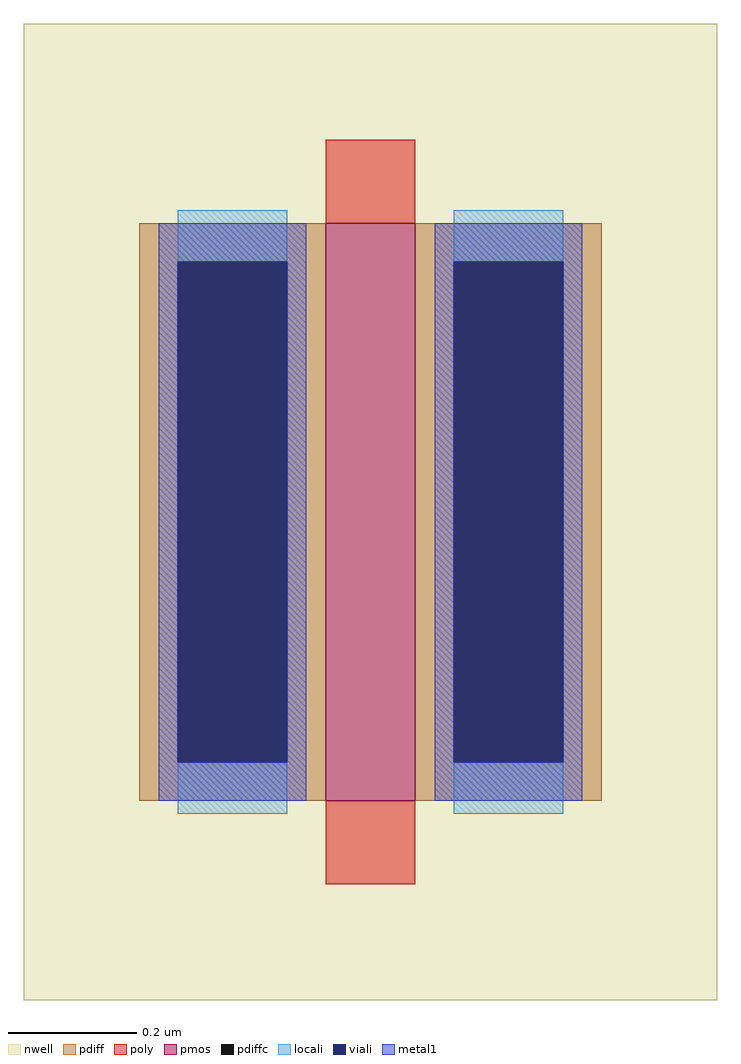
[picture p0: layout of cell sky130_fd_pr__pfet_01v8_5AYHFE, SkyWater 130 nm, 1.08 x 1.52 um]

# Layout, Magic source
magic
tech sky130A
<< nwell >>
rect -54 -76 54 76
<< pmos >>
rect -7 -45 7 45
<< pdiff >>
rect -36 39 -7 45
rect -36 -39 -30 39
rect -13 -39 -7 39
rect -36 -45 -7 -39
rect 7 39 36 45
rect 7 -39 13 39
rect 30 -39 36 39
rect 7 -45 36 -39
<< pdiffc >>
rect -30 -39 -13 39
rect 13 -39 30 39
<< poly >>
rect -7 45 7 58
rect -7 -58 7 -45
<< locali >>
rect -30 39 -13 47
rect -30 -47 -13 -39
rect 13 39 30 47
rect 13 -47 30 -39
<< viali >>
rect -30 -39 -13 39
rect 13 -39 30 39
<< metal1 >>
rect -33 39 -10 45
rect -33 -39 -30 39
rect -13 -39 -10 39
rect -33 -45 -10 -39
rect 10 39 33 45
rect 10 -39 13 39
rect 30 -39 33 39
rect 10 -45 33 -39
<< properties >>
string gencell sky130_fd_pr__pfet_01v8
string parameters w 0.9 l 0.15 m 1 nf 1 diffcov 100 polycov 100 guard 0 glc 0 grc 0 gtc 0 gbc 0 tbcov 100 rlcov 100 topc 0 botc 0 poverlap 0 doverlap 1 lmin 0.15 wmin 0.42 compatible {sky130_fd_pr__pfet_01v8  sky130_fd_pr__pfet_01v8_lvt sky130_fd_pr__pfet_01v8_hvt  sky130_fd_pr__pfet_g5v0d10v5} full_metal 0 viasrc 100 viadrn 100 viagate 100 viagb 0 viagr 0 viagl 0 viagt 0
string library sky130
<< end >>
